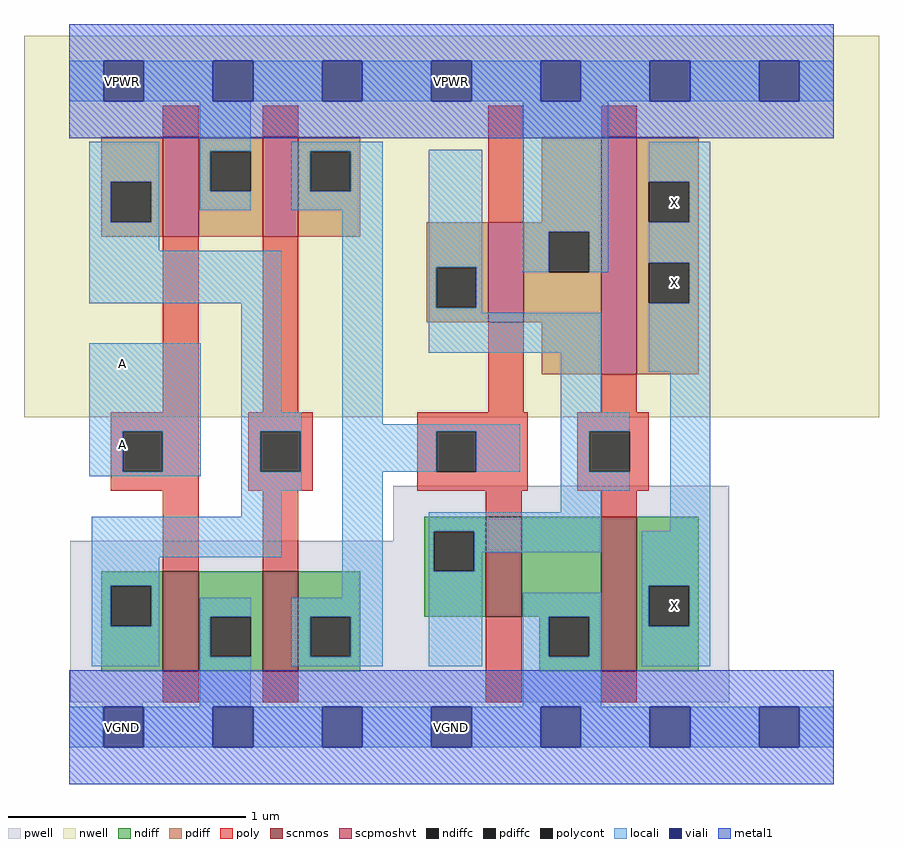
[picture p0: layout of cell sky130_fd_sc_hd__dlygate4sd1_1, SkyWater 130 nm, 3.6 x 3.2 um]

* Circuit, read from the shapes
.subckt sky130_fd_sc_hd__dlygate4sd1_1 A VGND VNB VPB VPWR X
XM1 VGND A n1 VNB sky130_fd_pr__nfet_01v8 w=0.42 l=0.15
XM2 n2 n1 VGND VNB sky130_fd_pr__nfet_01v8 w=0.42 l=0.15
XM3 VGND n2 n3 VNB sky130_fd_pr__nfet_01v8 w=0.42 l=0.15
XM4 X n3 VGND VNB sky130_fd_pr__nfet_01v8 w=0.65 l=0.15
XM5 VPWR A n1 VPB sky130_fd_pr__pfet_01v8_hvt w=0.42 l=0.15
XM6 n2 n1 VPWR VPB sky130_fd_pr__pfet_01v8_hvt w=0.42 l=0.15
XM7 VPWR n2 n3 VPB sky130_fd_pr__pfet_01v8_hvt w=0.42 l=0.15
XM8 X n3 VPWR VPB sky130_fd_pr__pfet_01v8_hvt w=1 l=0.15
.ends

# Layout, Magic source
magic
tech sky130B
magscale 1 2
<< nwell >>
rect -38 261 682 582
<< pwell >>
rect 273 157 556 203
rect 1 21 556 157
rect 28 -17 62 21
<< scnmos >>
rect 79 47 109 131
rect 163 47 193 131
rect 351 93 381 177
rect 448 47 478 177
<< scpmoshvt >>
rect 79 413 109 497
rect 163 413 193 497
rect 353 341 383 425
rect 448 297 478 497
<< ndiff >>
rect 299 165 351 177
rect 299 131 307 165
rect 341 131 351 165
rect 27 119 79 131
rect 27 85 35 119
rect 69 85 79 119
rect 27 47 79 85
rect 109 93 163 131
rect 109 59 119 93
rect 153 59 163 93
rect 109 47 163 59
rect 193 93 245 131
rect 299 93 351 131
rect 381 93 448 177
rect 193 59 203 93
rect 237 59 245 93
rect 193 47 245 59
rect 396 59 404 93
rect 438 59 448 93
rect 396 47 448 59
rect 478 119 530 177
rect 478 85 488 119
rect 522 85 530 119
rect 478 47 530 85
<< pdiff >>
rect 27 459 79 497
rect 27 425 35 459
rect 69 425 79 459
rect 27 413 79 425
rect 109 485 163 497
rect 109 451 119 485
rect 153 451 163 485
rect 109 413 163 451
rect 193 485 245 497
rect 193 451 203 485
rect 237 451 245 485
rect 193 413 245 451
rect 398 425 448 497
rect 301 387 353 425
rect 301 353 309 387
rect 343 353 353 387
rect 301 341 353 353
rect 383 417 448 425
rect 383 383 404 417
rect 438 383 448 417
rect 383 341 448 383
rect 398 297 448 341
rect 478 459 530 497
rect 478 425 488 459
rect 522 425 530 459
rect 478 391 530 425
rect 478 357 488 391
rect 522 357 530 391
rect 478 297 530 357
<< ndiffc >>
rect 307 131 341 165
rect 35 85 69 119
rect 119 59 153 93
rect 203 59 237 93
rect 404 59 438 93
rect 488 85 522 119
<< pdiffc >>
rect 35 425 69 459
rect 119 451 153 485
rect 203 451 237 485
rect 309 353 343 387
rect 404 383 438 417
rect 488 425 522 459
rect 488 357 522 391
<< poly >>
rect 79 497 109 523
rect 163 497 193 523
rect 353 425 383 523
rect 448 497 478 523
rect 79 265 109 413
rect 163 265 193 413
rect 353 265 383 341
rect 448 265 478 297
rect 35 249 109 265
rect 35 215 45 249
rect 79 215 109 249
rect 35 199 109 215
rect 151 249 205 265
rect 151 215 161 249
rect 195 215 205 249
rect 151 199 205 215
rect 293 249 386 265
rect 293 215 309 249
rect 343 215 386 249
rect 293 199 386 215
rect 428 249 488 265
rect 428 215 438 249
rect 472 215 488 249
rect 428 199 488 215
rect 79 131 109 199
rect 163 131 193 199
rect 351 177 381 199
rect 448 177 478 199
rect 79 21 109 47
rect 163 21 193 47
rect 351 21 381 93
rect 448 21 478 47
<< polycont >>
rect 45 215 79 249
rect 161 215 195 249
rect 309 215 343 249
rect 438 215 472 249
<< locali >>
rect 0 527 29 561
rect 63 527 121 561
rect 155 527 213 561
rect 247 527 305 561
rect 339 527 397 561
rect 431 527 489 561
rect 523 527 581 561
rect 615 527 644 561
rect 17 459 76 493
rect 17 425 35 459
rect 69 425 76 459
rect 110 485 153 527
rect 110 451 119 485
rect 110 435 153 451
rect 187 485 264 493
rect 187 451 203 485
rect 237 451 264 485
rect 187 435 264 451
rect 17 401 76 425
rect 17 357 179 401
rect 17 249 111 323
rect 17 215 45 249
rect 79 215 111 249
rect 17 211 111 215
rect 145 265 179 357
rect 145 249 196 265
rect 145 215 161 249
rect 195 215 196 249
rect 145 199 196 215
rect 230 255 264 435
rect 303 387 348 486
rect 303 353 309 387
rect 343 353 348 387
rect 382 417 454 527
rect 382 383 404 417
rect 438 383 454 417
rect 488 459 540 493
rect 522 425 540 459
rect 488 391 540 425
rect 303 349 348 353
rect 522 357 540 391
rect 303 315 448 349
rect 414 265 448 315
rect 488 299 540 357
rect 230 249 380 255
rect 230 215 309 249
rect 343 215 380 249
rect 414 249 472 265
rect 414 215 438 249
rect 145 177 179 199
rect 19 143 179 177
rect 19 119 76 143
rect 19 85 35 119
rect 69 85 76 119
rect 230 109 264 215
rect 414 199 472 215
rect 414 181 448 199
rect 19 51 76 85
rect 110 93 153 109
rect 110 59 119 93
rect 110 17 153 59
rect 187 93 264 109
rect 187 59 203 93
rect 237 59 264 93
rect 187 51 264 59
rect 303 165 448 181
rect 506 165 540 299
rect 303 131 307 165
rect 341 147 448 165
rect 341 131 348 147
rect 303 51 348 131
rect 482 119 540 165
rect 382 93 448 113
rect 382 59 404 93
rect 438 59 448 93
rect 382 17 448 59
rect 482 85 488 119
rect 522 85 540 119
rect 482 51 540 85
rect 0 -17 29 17
rect 63 -17 121 17
rect 155 -17 213 17
rect 247 -17 305 17
rect 339 -17 397 17
rect 431 -17 489 17
rect 523 -17 581 17
rect 615 -17 644 17
<< viali >>
rect 29 527 63 561
rect 121 527 155 561
rect 213 527 247 561
rect 305 527 339 561
rect 397 527 431 561
rect 489 527 523 561
rect 581 527 615 561
rect 29 -17 63 17
rect 121 -17 155 17
rect 213 -17 247 17
rect 305 -17 339 17
rect 397 -17 431 17
rect 489 -17 523 17
rect 581 -17 615 17
<< metal1 >>
rect 0 561 644 592
rect 0 527 29 561
rect 63 527 121 561
rect 155 527 213 561
rect 247 527 305 561
rect 339 527 397 561
rect 431 527 489 561
rect 523 527 581 561
rect 615 527 644 561
rect 0 496 644 527
rect 0 17 644 48
rect 0 -17 29 17
rect 63 -17 121 17
rect 155 -17 213 17
rect 247 -17 305 17
rect 339 -17 397 17
rect 431 -17 489 17
rect 523 -17 581 17
rect 615 -17 644 17
rect 0 -48 644 -17
<< labels >>
flabel locali s 28 289 62 323 0 FreeSans 200 0 0 0 A
port 1 nsew signal input
flabel locali s 493 425 527 459 0 FreeSans 200 0 0 0 X
port 6 nsew signal output
flabel locali s 493 357 527 391 0 FreeSans 200 0 0 0 X
port 6 nsew signal output
flabel locali s 493 85 527 119 0 FreeSans 200 0 0 0 X
port 6 nsew signal output
flabel locali s 28 221 62 255 0 FreeSans 200 0 0 0 A
port 1 nsew signal input
flabel metal1 s 28 527 62 561 0 FreeSans 200 0 0 0 VPWR
port 5 nsew power bidirectional abutment
flabel metal1 s 28 -17 62 17 0 FreeSans 200 0 0 0 VGND
port 2 nsew ground bidirectional abutment
flabel nwell s 28 527 62 561 0 FreeSans 200 0 0 0 VPB
port 4 nsew power bidirectional
flabel pwell s 28 -17 62 17 0 FreeSans 200 0 0 0 VNB
port 3 nsew ground bidirectional
rlabel comment s 0 0 0 0 4 dlygate4sd1_1
rlabel metal1 s 0 -48 644 48 1 VGND
port 2 nsew ground bidirectional abutment
rlabel metal1 s 0 496 644 592 1 VPWR
port 5 nsew power bidirectional abutment
<< properties >>
string FIXED_BBOX 0 0 644 544
string GDS_END 2882226
string GDS_FILE $PDKPATH/libs.ref/sky130_fd_sc_hd/gds/sky130_fd_sc_hd.gds
string GDS_START 2876824
string LEFclass CORE
string LEFsite unithd
string LEFsymmetry X Y R90
string path 0.000 13.600 16.100 13.600 
<< end >>
